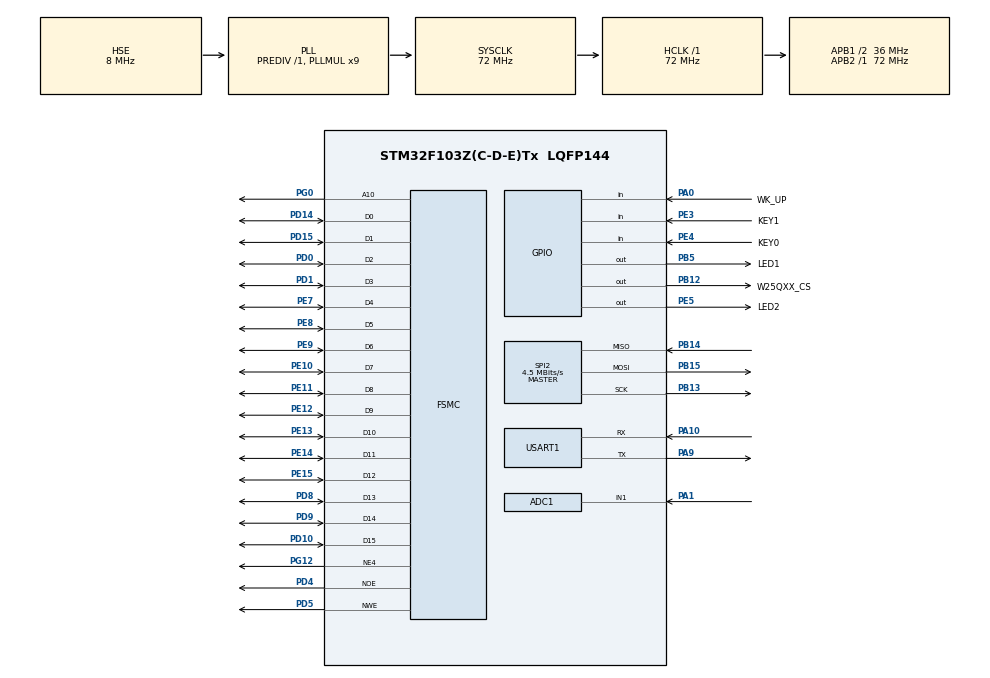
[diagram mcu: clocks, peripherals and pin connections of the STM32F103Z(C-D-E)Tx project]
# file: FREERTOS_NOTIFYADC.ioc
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ADC1.Channel-3\#ChannelRegularConversion=ADC_CHANNEL_1
ADC1.ExternalTrigConv=ADC_EXTERNALTRIGCONV_T3_TRGO
ADC1.NbrOfConversionFlag=1
ADC1.Rank-3\#ChannelRegularConversion=1
ADC1.SamplingTime-3\#ChannelRegularConversion=ADC_SAMPLETIME_1CYCLE_5
ADC1.master=1
FREERTOS.BinarySemaphores01=BinSem_DataReady,Dynamic,NULL
FREERTOS.INCLUDE_xEventGroupSetBitFromISR=1
FREERTOS.INCLUDE_xTaskAbortDelay=1
FREERTOS.INCLUDE_xTaskGetCurrentTaskHandle=1
FREERTOS.INCLUDE_xTaskGetHandle=1
FREERTOS.Queues01=Queue_Keys,10,uint8_t,0,Dynamic,NULL,NULL
FREERTOS.Tasks01=Task_Show,24,256,AppTask_Show,Default,NULL,Dynamic,NULL,NULL
FSMC.AddressSetupTime4=6
FSMC.BusTurnAroundDuration4=0
FSMC.DataSetupTime4=26
FSMC.ExtendedAddressSetupTime4=3
FSMC.ExtendedBusTurnAroundDuration4=0
FSMC.ExtendedDataSetupTime4=6
FSMC.ExtendedMode4=FSMC_EXTENDED_MODE_ENABLE
Mcu.Family=STM32F1
Mcu.Name=STM32F103Z(C-D-E)Tx
Mcu.Package=LQFP144
NVIC.ADC1_2_IRQn=true\:5\:0\:false\:false\:true\:true\:true\:true\:true
NVIC.PriorityGroup=NVIC_PRIORITYGROUP_4
NVIC.RTC_Alarm_IRQn=true\:5\:0\:false\:false\:true\:true\:true\:true\:true
NVIC.RTC_IRQn=true\:5\:0\:false\:false\:true\:true\:true\:true\:true
NVIC.TIM3_IRQn=true\:5\:0\:false\:false\:true\:true\:true\:true\:true
NVIC.TIM6_IRQn=true\:15\:0\:false\:false\:true\:false\:false\:true\:true
NVIC.TimeBase=TIM6_IRQn
NVIC.TimeBaseIP=TIM6
NVIC.USART1_IRQn=true\:5\:0\:false\:false\:true\:true\:true\:true\:true
OSC_IN.Mode=HSE-External-Oscillator
OSC_IN.Signal=RCC_OSC_IN
OSC_OUT.Mode=HSE-External-Oscillator
OSC_OUT.Signal=RCC_OSC_OUT
PA0-WKUP.GPIO_Label=WK_UP
PA0-WKUP.GPIO_PuPd=GPIO_PULLDOWN
PA0-WKUP.Signal=GPIO_Input
PA1.Signal=ADCx_IN1
PA10.Mode=Asynchronous
PA10.Signal=USART1_RX
PA13.Mode=Serial_Wire
PA13.Signal=SYS_JTMS-SWDIO
PA14.Mode=Serial_Wire
PA14.Signal=SYS_JTCK-SWCLK
PA9.Mode=Asynchronous
PA9.Signal=USART1_TX
PB12.GPIO_Label=W25QXX_CS
PB12.GPIO_PuPd=GPIO_PULLUP
PB12.GPIO_Speed=GPIO_SPEED_FREQ_HIGH
PB12.PinState=GPIO_PIN_SET
PB12.Signal=GPIO_Output
PB13.Mode=Full_Duplex_Master
PB13.Signal=SPI2_SCK
PB14.Mode=Full_Duplex_Master
PB14.Signal=SPI2_MISO
PB15.Mode=Full_Duplex_Master
PB15.Signal=SPI2_MOSI
PB5.GPIO_Label=LED1
PB5.GPIO_Speed=GPIO_SPEED_FREQ_HIGH
PB5.Signal=GPIO_Output
PC14-OSC32_IN.Mode=LSE-External-Oscillator
PC14-OSC32_IN.Signal=RCC_OSC32_IN
PC15-OSC32_OUT.Mode=LSE-External-Oscillator
PC15-OSC32_OUT.Signal=RCC_OSC32_OUT
PD0.Signal=FSMC_D2_DA2
PD1.Signal=FSMC_D3_DA3
PD10.Signal=FSMC_D15_DA15
PD14.Signal=FSMC_D0_DA0
PD15.Signal=FSMC_D1_DA1
PD4.Signal=FSMC_NOE
PD5.Signal=FSMC_NWE
PD8.Signal=FSMC_D13_DA13
PD9.Signal=FSMC_D14_DA14
PE10.Signal=FSMC_D7_DA7
PE11.Signal=FSMC_D8_DA8
PE12.Signal=FSMC_D9_DA9
PE13.Signal=FSMC_D10_DA10
PE14.Signal=FSMC_D11_DA11
PE15.Signal=FSMC_D12_DA12
PE3.GPIO_Label=KEY1
PE3.GPIO_PuPd=GPIO_PULLUP
PE3.Signal=GPIO_Input
PE4.GPIO_Label=KEY0
PE4.GPIO_PuPd=GPIO_PULLUP
PE4.Signal=GPIO_Input
PE5.GPIO_Label=LED2
PE5.GPIO_Speed=GPIO_SPEED_FREQ_HIGH
PE5.Signal=GPIO_Output
PE7.Signal=FSMC_D4_DA4
PE8.Signal=FSMC_D5_DA5
PE9.Signal=FSMC_D6_DA6
PG0.Signal=FSMC_A10
PG12.Mode=NorPsramChipSelect4_4
PG12.Signal=FSMC_NE4
ProjectManager.HeapSize=0x200
ProjectManager.StackSize=0x400
ProjectManager.TargetToolchain=STM32CubeIDE
RCC.AHBFreq_Value=72000000
RCC.APB1CLKDivider=RCC_HCLK_DIV2
RCC.APB1Freq_Value=36000000
RCC.APB1TimFreq_Value=72000000
RCC.APB2Freq_Value=72000000
RCC.APB2TimFreq_Value=72000000
RCC.HCLKFreq_Value=72000000
RCC.PLLMUL=RCC_PLL_MUL9
RCC.PLLSourceVirtual=RCC_PLLSOURCE_HSE
RCC.RTCClockSelection=RCC_RTCCLKSOURCE_LSE
RCC.SYSCLKFreq_VALUE=72000000
RCC.SYSCLKSource=RCC_SYSCLKSOURCE_PLLCLK
RCC.USBFreq_Value=72000000
RTC.AutoPrediv=RTC_AUTO_1_SECOND
RTC.Format=RTC_FORMAT_BIN
SH.ADCx_IN1.0=ADC1_IN1,IN1
SH.FSMC_A10.0=FSMC_A10,A10_4
SH.FSMC_D0_DA0.0=FSMC_D0,16b-d4
SH.FSMC_D10_DA10.0=FSMC_D10,16b-d4
SH.FSMC_D11_DA11.0=FSMC_D11,16b-d4
SH.FSMC_D12_DA12.0=FSMC_D12,16b-d4
SH.FSMC_D13_DA13.0=FSMC_D13,16b-d4
SH.FSMC_D14_DA14.0=FSMC_D14,16b-d4
SH.FSMC_D15_DA15.0=FSMC_D15,16b-d4
SH.FSMC_D1_DA1.0=FSMC_D1,16b-d4
SH.FSMC_D2_DA2.0=FSMC_D2,16b-d4
SH.FSMC_D3_DA3.0=FSMC_D3,16b-d4
SH.FSMC_D4_DA4.0=FSMC_D4,16b-d4
SH.FSMC_D5_DA5.0=FSMC_D5,16b-d4
SH.FSMC_D6_DA6.0=FSMC_D6,16b-d4
SH.FSMC_D7_DA7.0=FSMC_D7,16b-d4
SH.FSMC_D8_DA8.0=FSMC_D8,16b-d4
SH.FSMC_D9_DA9.0=FSMC_D9,16b-d4
SH.FSMC_NOE.0=FSMC_NOE,Lcd4
SH.FSMC_NWE.0=FSMC_NWE,Lcd4
SPI2.BaudRatePrescaler=SPI_BAUDRATEPRESCALER_8
SPI2.CLKPhase=SPI_PHASE_2EDGE
SPI2.CLKPolarity=SPI_POLARITY_HIGH
SPI2.CRCCalculation=SPI_CRCCALCULATION_DISABLE
SPI2.CalculateBaudRate=4.5 MBits/s
SPI2.Direction=SPI_DIRECTION_2LINES
SPI2.Mode=SPI_MODE_MASTER
SPI2.VirtualType=VM_MASTER
TIM3.Period=4999
TIM3.Prescaler=7199
TIM3.TIM_MasterOutputTrigger=TIM_TRGO_UPDATE
USART1.VirtualMode=VM_ASYNC
VP_FREERTOS_VS_CMSIS_V2.Mode=CMSIS_V2
VP_RTC_VS_RTC_Activate.Mode=RTC_Enabled
VP_SYS_VS_tim6.Mode=TIM6
VP_TIM3_VS_ClockSourceINT.Mode=Internal
board=custom

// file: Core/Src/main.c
/* USER CODE BEGIN Header */
/**
  ******************************************************************************
  * @file           : main.c
  * @brief          : Main program body
  ******************************************************************************
  * @attention
  *
  * Copyright (c) 2023 STMicroelectronics.
  * All rights reserved.
  *
  * This software is licensed under terms that can be found in the LICENSE file
  * in the root directory of this software component.
  * If no LICENSE file comes with this software, it is provided AS-IS.
  *
  ******************************************************************************
  */
/* USER CODE END Header */
#include "main.h"
#include "cmsis_os.h"
#include "adc.h"
#include "rtc.h"
#include "spi.h"
#include "tim.h"
#include "usart.h"
#include "gpio.h"
#include "fsmc.h"

/* USER CODE BEGIN Includes */
#include "stdio.h"
#include "lcd.h"
#include "w25qxx.h"
#include <string.h>
/* USER CODE END Includes */

void SystemClock_Config(void);
void MX_FREERTOS_Init(void);

int main(void)
{
  /* USER CODE BEGIN 1 */
	int x = 0,FLASH_SIZE,id;
	u8 lcd_id[12],datatemp[20];						//存放LCD ID字符�???????????????????
  /* USER CODE END 1 */

  /* MCU Configuration--------------------------------------------------------*/

  /* Reset of all peripherals, Initializes the Flash interface and the Systick. */
  HAL_Init();

  /* Configure the system clock */
  SystemClock_Config();

  /* Initialize all configured peripherals */
  MX_GPIO_Init();
  MX_USART1_UART_Init();
  MX_FSMC_Init();
  MX_SPI2_Init();
  MX_RTC_Init();
  MX_ADC1_Init();
  MX_TIM3_Init();
  /* USER CODE BEGIN 2 */
	LCD_Init();
	POINT_COLOR=RED;     				//画笔颜色：红�???????????????????
//	sprintf((char*)lcd_id,"LCD ID:%04X",lcddev.id);//将LCD ID打印到lcd_id数组�???????????????????
	LCD_Clear(WHITE);
//	POINT_COLOR=RED;
	HAL_ADC_Start_IT(&hadc1); //以中断方式启动ADC
	HAL_TIM_Base_Start(&htim3); //启动定时�???
	LCD_ShowString(30,40,210,12,12,"Demo8_1:Task Notification");

  /* USER CODE END 2 */

  /* Init scheduler */
  osKernelInitialize();  /* Call init function for freertos objects (in freertos.c) */
  MX_FREERTOS_Init();

  /* Start scheduler */
  osKernelStart();
  /* We should never get here as control is now taken by the scheduler */
  /* Infinite loop */
  /* USER CODE BEGIN WHILE */
	while (1)
	{

		osDelay(500);
		HAL_GPIO_TogglePin(LED1_GPIO_Port,LED1_Pin);
    /* USER CODE END WHILE */

  }
}

void SystemClock_Config(void)
{
  RCC_OscInitTypeDef RCC_OscInitStruct = {0};
  RCC_ClkInitTypeDef RCC_ClkInitStruct = {0};
  RCC_PeriphCLKInitTypeDef PeriphClkInit = {0};

  /** Initializes the RCC Oscillators according to the specified parameters
  * in the RCC_OscInitTypeDef structure.
  */
  RCC_OscInitStruct.OscillatorType = RCC_OSCILLATORTYPE_HSE|RCC_OSCILLATORTYPE_LSE;
  RCC_OscInitStruct.HSEState = RCC_HSE_ON;
  RCC_OscInitStruct.HSEPredivValue = RCC_HSE_PREDIV_DIV1;
  RCC_OscInitStruct.LSEState = RCC_LSE_ON;
  RCC_OscInitStruct.HSIState = RCC_HSI_ON;
  RCC_OscInitStruct.PLL.PLLState = RCC_PLL_ON;
  RCC_OscInitStruct.PLL.PLLSource = RCC_PLLSOURCE_HSE;
  RCC_OscInitStruct.PLL.PLLMUL = RCC_PLL_MUL9;
  if (HAL_RCC_OscConfig(&RCC_OscInitStruct) != HAL_OK)
  {
    Error_Handler();
  }

  /** Initializes the CPU, AHB and APB buses clocks
  */
  RCC_ClkInitStruct.ClockType = RCC_CLOCKTYPE_HCLK|RCC_CLOCKTYPE_SYSCLK
                              |RCC_CLOCKTYPE_PCLK1|RCC_CLOCKTYPE_PCLK2;
  RCC_ClkInitStruct.SYSCLKSource = RCC_SYSCLKSOURCE_PLLCLK;
  RCC_ClkInitStruct.AHBCLKDivider = RCC_SYSCLK_DIV1;
  RCC_ClkInitStruct.APB1CLKDivider = RCC_HCLK_DIV2;
  RCC_ClkInitStruct.APB2CLKDivider = RCC_HCLK_DIV1;

  if (HAL_RCC_ClockConfig(&RCC_ClkInitStruct, FLASH_LATENCY_2) != HAL_OK)
  {
    Error_Handler();
  }
  PeriphClkInit.PeriphClockSelection = RCC_PERIPHCLK_RTC|RCC_PERIPHCLK_ADC;
  PeriphClkInit.RTCClockSelection = RCC_RTCCLKSOURCE_LSE;
  PeriphClkInit.AdcClockSelection = RCC_ADCPCLK2_DIV2;
  if (HAL_RCCEx_PeriphCLKConfig(&PeriphClkInit) != HAL_OK)
  {
    Error_Handler();
  }
}

/* USER CODE BEGIN 4 */

void delay_us(uint32_t udelay)
{
  uint32_t startval,tickn,delays,wait;

  startval = SysTick->VAL;
  tickn = HAL_GetTick();
  //sysc = 72000;  //SystemCoreClock / (1000U / uwTickFreq);
  delays =udelay * 72; //sysc / 1000 * udelay;
  if(delays > startval)
    {
      while(HAL_GetTick() == tickn)
        {

        }
      wait = 72000 + startval - delays;
      while(wait < SysTick->VAL)
        {

        }
    }
  else
    {
      wait = startval - delays;
      while(wait < SysTick->VAL && HAL_GetTick() == tickn)
        {

        }
    }
}

void delay_ms(uint32_t udelay)
{
	HAL_Delay(udelay);
	//osDelay(udelay);
}
/* USER CODE END 4 */

void HAL_TIM_PeriodElapsedCallback(TIM_HandleTypeDef *htim)
{
  if (htim->Instance == TIM6) {
    HAL_IncTick();
  }
}

void Error_Handler(void)
{
  __disable_irq();
  while (1)
  {
  }
}

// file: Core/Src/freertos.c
/* USER CODE BEGIN Header */
/**
  ******************************************************************************
  * File Name          : freertos.c
  * Description        : Code for freertos applications
  ******************************************************************************
  * @attention
  *
  * Copyright (c) 2023 STMicroelectronics.
  * All rights reserved.
  *
  * This software is licensed under terms that can be found in the LICENSE file
  * in the root directory of this software component.
  * If no LICENSE file comes with this software, it is provided AS-IS.
  *
  ******************************************************************************
  */
/* USER CODE END Header */

#include "FreeRTOS.h"
#include "task.h"
#include "main.h"
#include "cmsis_os.h"

/* USER CODE BEGIN Includes */
#include "lcd.h"
#include "adc.h"
#include "gpio.h"
#include "queue.h"
#include "semphr.h"
#include "event_groups.h" //事件组相关头文件
/* USER CODE END Includes */

/* USER CODE BEGIN PD */
#define BITMASK_KEY_LEFT 0x04 //事件位掩码定�?
#define BITMASK_KEY_DOWN 0x02
#define BITMASK_KEY_RIGHT 0x01
#define BITMASK_SYNC BITMASK_KEY_LEFT | BITMASK_KEY_DOWN | BITMASK_KEY_RIGHT
/* USER CODE END PD */

/* USER CODE BEGIN Variables */
uint32_t adc_value;
EventGroupHandle_t eventGroupHandle; //事件组对象句�??
/* USER CODE END Variables */
/* Definitions for Task_Show */
osThreadId_t Task_ShowHandle;
const osThreadAttr_t Task_Show_attributes = {
  .name = "Task_Show",
  .stack_size = 256 * 4,
  .priority = (osPriority_t) osPriorityNormal,
};
/* Definitions for Queue_Keys */
osMessageQueueId_t Queue_KeysHandle;
const osMessageQueueAttr_t Queue_Keys_attributes = {
  .name = "Queue_Keys"
};
/* Definitions for BinSem_DataReady */
osSemaphoreId_t BinSem_DataReadyHandle;
const osSemaphoreAttr_t BinSem_DataReady_attributes = {
  .name = "BinSem_DataReady"
};

void AppTask_Show(void *argument);

void MX_FREERTOS_Init(void); /* (MISRA C 2004 rule 8.1) */

void MX_FREERTOS_Init(void) {

  /* Create the semaphores(s) */
  /* creation of BinSem_DataReady */
  BinSem_DataReadyHandle = osSemaphoreNew(1, 1, &BinSem_DataReady_attributes);

  /* Create the queue(s) */
  /* creation of Queue_Keys */
  Queue_KeysHandle = osMessageQueueNew (10, sizeof(uint8_t), &Queue_Keys_attributes);

  /* USER CODE BEGIN RTOS_QUEUES */
  /* add queues, ... */
  eventGroupHandle= xEventGroupCreate(); //创建事件�??
  /* USER CODE END RTOS_QUEUES */

  /* Create the thread(s) */
  /* creation of Task_Show */
  Task_ShowHandle = osThreadNew(AppTask_Show, NULL, &Task_Show_attributes);

}

void AppTask_Show(void *argument)
{
  /* USER CODE BEGIN AppTask_Show */
	LCD_ShowString(30,55,210,12,12,"ADC Value = ");
	LCD_ShowString(30,70,210,12,12,"Voltage(mV) = ");
  /* Infinite loop */
	uint32_t notifyValue = 0;
	for(;;)
	{
		BaseType_t result = xTaskNotifyWait(0x00, 0xffffffffUL, &notifyValue, portMAX_DELAY);
		if(result == pdTRUE)
		{
			uint32_t tmpValue = notifyValue;
			LCD_ShowNum(150,55,tmpValue,4,12);
			uint32_t Volt = 3300 * tmpValue;
			Volt = Volt >> 12;
			LCD_ShowNum(150,70,Volt,4,12);
		}
	}
  /* USER CODE END AppTask_Show */
}

/* USER CODE BEGIN Application */
void HAL_ADC_ConvCpltCallback(ADC_HandleTypeDef* hadc)
{
	if(hadc->Instance == ADC1)
	{
		adc_value = HAL_ADC_GetValue(hadc);
		if(Task_ShowHandle != NULL)
		{
			BaseType_t taskWoken = pdFALSE;
			//xSemaphoreGiveFromISR(BinSem_DataReadyHandle,&highTaskWoken);
			xTaskNotifyFromISR(Task_ShowHandle,adc_value,eSetValueWithOverwrite,&taskWoken);
			portYIELD_FROM_ISR(taskWoken);
		}
	}
}
/* USER CODE END Application */
